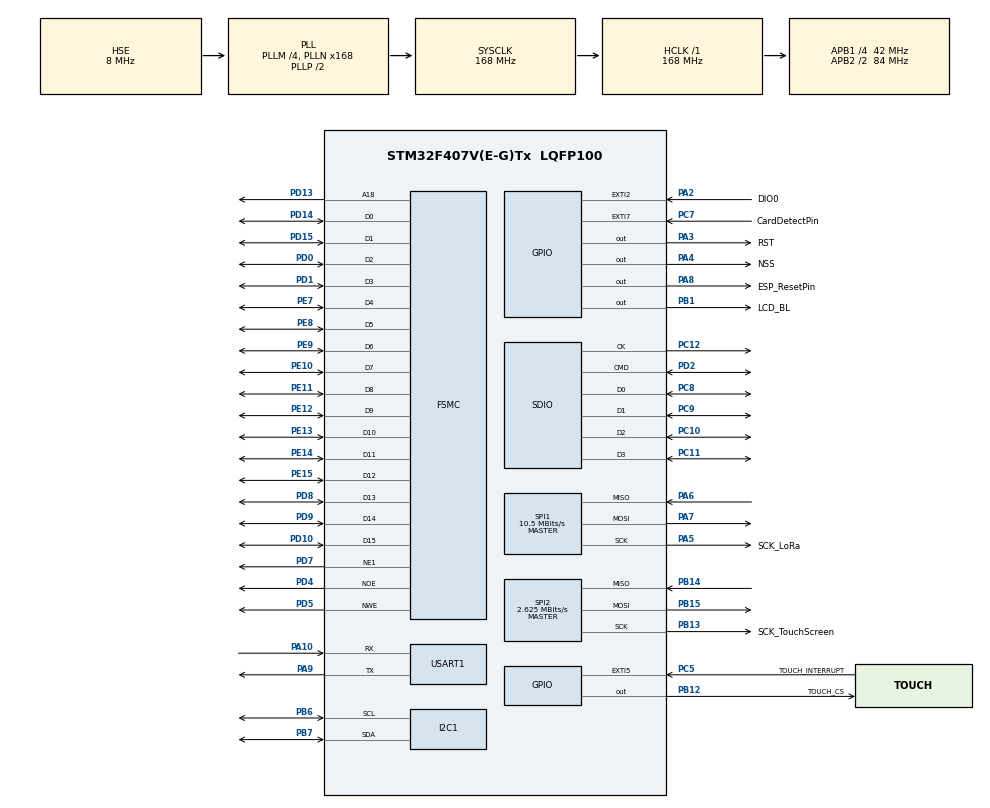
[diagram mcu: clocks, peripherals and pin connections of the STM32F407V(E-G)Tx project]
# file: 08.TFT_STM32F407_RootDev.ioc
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FATFS._FS_EXFAT=1
FATFS._MAX_SS=4096
FATFS._USE_CHMOD=1
FATFS._USE_EXPAND=1
FATFS._USE_FORWARD=1
FATFS._USE_LABEL=1
FATFS._USE_LFN=1
FSMC.AddressSetupTime1=1
FSMC.BusTurnAroundDuration1=0
FSMC.DataSetupTime1=5
Mcu.Family=STM32F4
Mcu.Name=STM32F407V(E-G)Tx
Mcu.Package=LQFP100
NVIC.EXTI2_IRQn=true\:0\:0\:false\:false\:true\:true\:true\:true
NVIC.EXTI9_5_IRQn=true\:0\:0\:true\:false\:true\:true\:true\:true
NVIC.PriorityGroup=NVIC_PRIORITYGROUP_4
NVIC.SDIO_IRQn=true\:0\:0\:false\:false\:true\:true\:true\:true
NVIC.TIM3_IRQn=true\:0\:0\:false\:false\:true\:true\:true\:true
NVIC.USART1_IRQn=true\:0\:0\:true\:false\:true\:true\:true\:true
PA10.Mode=Asynchronous
PA10.Signal=USART1_RX
PA13.Mode=JTAG_4_pins
PA13.Signal=SYS_JTMS-SWDIO
PA14.Mode=JTAG_4_pins
PA14.Signal=SYS_JTCK-SWCLK
PA15.Mode=JTAG_4_pins
PA15.Signal=SYS_JTDI
PA2.GPIO_Label=DIO0
PA2.Signal=GPXTI2
PA3.GPIO_Label=RST
PA3.PinState=GPIO_PIN_SET
PA3.Signal=GPIO_Output
PA4.GPIO_Label=NSS
PA4.PinState=GPIO_PIN_SET
PA4.Signal=GPIO_Output
PA5.GPIO_Label=SCK_LoRa
PA5.Mode=Full_Duplex_Master
PA5.Signal=SPI1_SCK
PA6.Mode=Full_Duplex_Master
PA6.Signal=SPI1_MISO
PA7.Mode=Full_Duplex_Master
PA7.Signal=SPI1_MOSI
PA8.GPIO_Label=ESP_ResetPin
PA8.GPIO_PuPd=GPIO_PULLUP
PA8.Signal=GPIO_Output
PA9.Mode=Asynchronous
PA9.Signal=USART1_TX
PB1.GPIO_Label=LCD_BL
PB1.PinState=GPIO_PIN_SET
PB1.Signal=GPIO_Output
PB12.GPIO_Label=TOUCH_CS
PB12.PinState=GPIO_PIN_SET
PB12.Signal=GPIO_Output
PB13.GPIO_Label=SCK_TouchScreen
PB13.Mode=Full_Duplex_Master
PB13.Signal=SPI2_SCK
PB14.Mode=Full_Duplex_Master
PB14.Signal=SPI2_MISO
PB15.Mode=Full_Duplex_Master
PB15.Signal=SPI2_MOSI
PB3.Mode=JTAG_4_pins
PB3.Signal=SYS_JTDO-SWO
PB6.Mode=I2C
PB6.Signal=I2C1_SCL
PB7.Mode=I2C
PB7.Signal=I2C1_SDA
PC10.Mode=SD_4_bits_Wide_bus
PC10.Signal=SDIO_D2
PC11.Mode=SD_4_bits_Wide_bus
PC11.Signal=SDIO_D3
PC12.Mode=SD_4_bits_Wide_bus
PC12.Signal=SDIO_CK
PC5.GPIO_Label=TOUCH_INTERRUPT
PC5.GPIO_ModeDefaultEXTI=GPIO_MODE_IT_FALLING
PC5.Signal=GPXTI5
PC7.GPIO_Label=CardDetectPin
PC7.Signal=GPXTI7
PC8.Mode=SD_4_bits_Wide_bus
PC8.Signal=SDIO_D0
PC9.Mode=SD_4_bits_Wide_bus
PC9.Signal=SDIO_D1
PD0.Mode=16b-d1
PD0.Signal=FSMC_D2
PD1.Mode=16b-d1
PD1.Signal=FSMC_D3
PD10.Mode=16b-d1
PD10.Signal=FSMC_D15
PD13.Mode=A18_1
PD13.Signal=FSMC_A18
PD14.Mode=16b-d1
PD14.Signal=FSMC_D0
PD15.Mode=16b-d1
PD15.Signal=FSMC_D1
PD2.Mode=SD_4_bits_Wide_bus
PD2.Signal=SDIO_CMD
PD4.Mode=Lcd1
PD4.Signal=FSMC_NOE
PD5.Mode=Lcd1
PD5.Signal=FSMC_NWE
PD7.Mode=NorPsramChipSelect1_1
PD7.Signal=FSMC_NE1
PD8.Mode=16b-d1
PD8.Signal=FSMC_D13
PD9.Mode=16b-d1
PD9.Signal=FSMC_D14
PE10.Mode=16b-d1
PE10.Signal=FSMC_D7
PE11.Mode=16b-d1
PE11.Signal=FSMC_D8
PE12.Mode=16b-d1
PE12.Signal=FSMC_D9
PE13.Mode=16b-d1
PE13.Signal=FSMC_D10
PE14.Mode=16b-d1
PE14.Signal=FSMC_D11
PE15.Mode=16b-d1
PE15.Signal=FSMC_D12
PE7.Mode=16b-d1
PE7.Signal=FSMC_D4
PE8.Mode=16b-d1
PE8.Signal=FSMC_D5
PE9.Mode=16b-d1
PE9.Signal=FSMC_D6
PH0-OSC_IN.Mode=HSE-External-Oscillator
PH0-OSC_IN.Signal=RCC_OSC_IN
PH1-OSC_OUT.Mode=HSE-External-Oscillator
PH1-OSC_OUT.Signal=RCC_OSC_OUT
ProjectManager.HeapSize=0x200
ProjectManager.StackSize=0x400
ProjectManager.TargetToolchain=STM32CubeIDE
RCC.48MHZClocksFreq_Value=24000000
RCC.AHBFreq_Value=168000000
RCC.APB1CLKDivider=RCC_HCLK_DIV4
RCC.APB1Freq_Value=42000000
RCC.APB1TimFreq_Value=84000000
RCC.APB2CLKDivider=RCC_HCLK_DIV2
RCC.APB2Freq_Value=84000000
RCC.APB2TimFreq_Value=168000000
RCC.CortexFreq_Value=168000000
RCC.HCLKFreq_Value=168000000
RCC.HSE_VALUE=8000000
RCC.HSI_VALUE=16000000
RCC.LSE_VALUE=32768
RCC.PLLM=4
RCC.PLLN=168
RCC.PLLQ=14
RCC.PLLSourceVirtual=RCC_PLLSOURCE_HSE
RCC.SYSCLKFreq_VALUE=168000000
RCC.SYSCLKSource=RCC_SYSCLKSOURCE_PLLCLK
RCC.VCOOutputFreq_Value=336000000
SDIO.ClockDiv=2
SPI1.BaudRatePrescaler=SPI_BAUDRATEPRESCALER_8
SPI1.CalculateBaudRate=10.5 MBits/s
SPI1.Direction=SPI_DIRECTION_2LINES
SPI1.Mode=SPI_MODE_MASTER
SPI1.VirtualType=VM_MASTER
SPI2.BaudRatePrescaler=SPI_BAUDRATEPRESCALER_16
SPI2.CalculateBaudRate=2.625 MBits/s
SPI2.Direction=SPI_DIRECTION_2LINES
SPI2.Mode=SPI_MODE_MASTER
SPI2.VirtualType=VM_MASTER
TIM3.AutoReloadPreload=TIM_AUTORELOAD_PRELOAD_ENABLE
TIM3.Period=9999
TIM3.Prescaler=8399
USART1.VirtualMode=VM_ASYNC
VP_FATFS_VS_SDIO.Mode=SDIO
VP_TIM3_VS_ClockSourceINT.Mode=Internal
board=custom

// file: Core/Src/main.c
/* USER CODE BEGIN Header */
/**
  ******************************************************************************
  * @file           : main.c
  * @brief          : Main program body
  ******************************************************************************
  * @attention
  *
  * Copyright (c) 2025 STMicroelectronics.
  * All rights reserved.
  *
  * This software is licensed under terms that can be found in the LICENSE file
  * in the root directory of this software component.
  * If no LICENSE file comes with this software, it is provided AS-IS.
  *
  ******************************************************************************
  */
/* USER CODE END Header */
#include "main.h"
#include "fatfs.h"
#include "i2c.h"
#include "sdio.h"
#include "spi.h"
#include "tim.h"
#include "usart.h"
#include "gpio.h"
#include "fsmc.h"

/* USER CODE BEGIN Includes */
// pliki naglowkowe musza tu byc z racji na to ze ich deklaracja jest zalezna od includow z main
#include "File_Handling.h"
#include "INI_FileHandling.h"
#include "actions.h"

/* USER CODE END Includes */

/* USER CODE BEGIN PV */
volatile uint8_t ReInitializingCardRequired = 0;

volatile int DisableTimeScreenAfterMS = 20000;
volatile int DisableTimeScreen = 0;

// ESP wifi Start
volatile int SendTimeUARTCount = 0;
volatile int SendTimeUARTAfterSec = 5;
// ESP

// LoRa Start
LoRa myLoRa;
int LoRa_stat=0;
char TxBuffer[128];
volatile int LoRaIsReceived=0;
char RxBuffer[128];
// LoRa End

// BMP280 Start
BMP280_HandleTypedef bmp280;
uint16_t size;
uint8_t Data[256];

// BMP280 END

/* USER CODE END PV */

void SystemClock_Config(void);

int main(void)
{

  /* USER CODE BEGIN 1 */
	int PointerSensivitySizeDefault = 200;

	int LV_CheckTimeAfterMS = 5;
	int BMP280_CheckTimeAfterMS = 5000;
	int DeviceStatusesRefresh_CheckTimeAfterMS = 1000;

	int DefaultDTSynchAfterMS= 3600000 * 8; // powinna byc 1h
	int SendDataTime_CheckTimeAfterMS = 30000;
	int SendDataTimeSynchronizeAfterMS = DefaultDTSynchAfterMS;

	int TimeNOW = 0;
	int LV_FromTime = 0;
	int BMP280_FromTime = 0;
	int DeviceStatusesRefresh_FromTime = 0;
	int DataTime_FromTime = 0;
  /* USER CODE END 1 */

  /* MCU Configuration--------------------------------------------------------*/

  /* Reset of all peripherals, Initializes the Flash interface and the Systick. */
  HAL_Init();

  /* Configure the system clock */
  SystemClock_Config();

  /* Initialize all configured peripherals */
  MX_GPIO_Init();
  MX_USART1_UART_Init();
  MX_FSMC_Init();
  MX_SDIO_SD_Init();
  MX_SPI2_Init();
  MX_FATFS_Init();
  MX_TIM3_Init();
  MX_SPI1_Init();
  MX_I2C1_Init();
  /* USER CODE BEGIN 2 */

  DelayInit();

  initTouchScr(); //lcdInit();

  lv_init();
  lv_port_disp_init();
  lv_port_indev_init();

  LCD_BL_ON();

  if(HAL_GPIO_ReadPin(GPIOC, CardDetectPin_Pin) == GPIO_PIN_RESET)
  {
	CardDetectedInSlot = true;
	InitializeSDCard();
  }

  IniFile config;

  lcdFillRGB(COLOR_BLACK);

  lcdSetOrientation(LCD_ORIENTATION_LANDSCAPE);

  //TODOLIST
  // kalibracja temp hum itd (najpierw odczytywana z karty SD
  // wyswietlana na jakies zakladce lub osobnej stronie.
  // wifi jak czesto odświezać ma serwer NTP
  // timer wylaczania ekranu ustawienia z karty SD
  // dodatkowo wycięcie logowania przy WIFI

	if(CardDetectedInSlot)
	{
	 if(Mount_SD("/") == FR_OK)
	  {
		if (Load_INI_File("config.ini", &config) == FR_OK)
		{
			Debug("Plik INI wczytany pomyslnie.");
			HAL_Delay(1000);

			if (Get_INI_Value_As_Int(&config, "DeviceConfig", "ScreenTime", (void*)&DisableTimeScreenAfterMS))
			{
	//			snprintf(debugData, sizeof(debugData),"ScreenTime: %d ms", DisableTimeScreenAfterMS);
	//			Debug(debugData);
			}
			else
			{
				Debug("Nieprawidlowa wartosc ScreenTime.");
				HAL_Delay(2000);
			}

			if (Get_INI_Value_As_Int(&config, "DeviceConfig", "PointerSensivitySizeDefault", &PointerSensivitySizeDefault))
			{
	//			snprintf(debugData, sizeof(debugData),"PointerSensivitySizeDefault: %d ms", PointerSensivitySizeDefault);
	//			Debug(debugData);
			}
			else
			{
				Debug("Nieprawidlowa wartosc PointerSensivitySizeDefault.");
				HAL_Delay(1000);
			}

			memset(WIFI_SSID, 0, sizeof(WIFI_SSID));
			// Pobierz dane Wi-Fi
			if (Get_INI_Value(&config, "WiFi", "SSID", WIFI_SSID, sizeof(WIFI_SSID)))
			{
				Debug("                                         ");
				snprintf(debugData, sizeof(debugData),"SSID: %s", WIFI_SSID);
				Debug(debugData);
				HAL_Delay(1000);
			}

			memset(WIFI_PASSWORD, 0, sizeof(WIFI_PASSWORD));
			if (Get_INI_Value(&config, "WiFi", "Password", WIFI_PASSWORD, sizeof(WIFI_PASSWORD)))
			{
//				Debug("                                         ");
//				snprintf(debugData, sizeof(debugData),"Password: %s", WIFI_PASSWORD);
//				Debug(debugData);
//				HAL_Delay(2000);
			}

		} else
		{
			Debug("Nie udalo sie wczytac pliku INI.");
			HAL_Delay(3000);
		}
	  }
	  Unmount_SD("/");
	}

	ui_init();
	// --------------------------------------------------------------------ESP 8266
	InitESP8266();
	ConnectToWiFi(WIFI_SSID, WIFI_PASSWORD);

	// --------------------------------------------------------------------LORA
	LoRa_stat = InitializeMyLoRa(&myLoRa);
	MakeHandleToLoRa(&myLoRa);
	SetDevID(4705);
	SendMessageRequest(0, Broadcast);

	// --------------------------------------------------------------------BMP280
	bmp280_init_default_params(&bmp280.params);
	bmp280.addr = BMP280_I2C_ADDRESS_0; // GND
	bmp280.i2c = &hi2c1;
	while (!bmp280_init(&bmp280, &bmp280.params))
	{
	//		size = sprintf((char *)Data, "BMP280 initialization failed\n");
		Debug("BMP280 initialization failed...");
		HAL_Delay(2000);
	}
//    bool bme280p = bmp280.id == BME280_CHIP_ID;
//	size = sprintf((char *)Data, "BMP280: found %s\n", bme280p ? "BME280" : "BMP280");
	bmp280_read_float(&bmp280,&BMP280_temperature, &BMP280_pressure, &BMP280_humidity);
	SetLocalTempHumPressureLVGL();

  /* USER CODE END 2 */

  /* Infinite loop */
  /* USER CODE BEGIN WHILE */

	ConnectToWiFi(WIFI_SSID, WIFI_PASSWORD);
	LoRaReceiveMode();
	DisableTimeScreen = HAL_GetTick();
	TSInterrupt = 1;

	// init time
	DateNow.isWinterTime = false;

	while (1)
	{

		TimeNOW = HAL_GetTick();

		if(((uint32_t)TimeNOW - DisableTimeScreen) >= DisableTimeScreenAfterMS)
		{
			DisableTimeScreen = TimeNOW;
			LCD_BL_OFF();
			TSInterrupt = 0;
		}

		if ((uint32_t)(TimeNOW - BMP280_FromTime) >= BMP280_CheckTimeAfterMS)
		{
			BMP280_FromTime = TimeNOW; // Ustaw następny czas startu na bieżący

			bmp280_read_float(&bmp280,&BMP280_temperature, &BMP280_pressure, &BMP280_humidity); // or altitude
			SetLocalTempHumPressureLVGL();
		}

		if ((uint32_t)(TimeNOW - DeviceStatusesRefresh_FromTime) >= DeviceStatusesRefresh_CheckTimeAfterMS)
		{
			DeviceStatusesRefresh_FromTime = TimeNOW; // Ustaw następny czas startu na bieżący
			SetLoRaStatusFlagsLVGL();
			SetWifiStatusFlagsLVGL();
		}

		TimeNOW = HAL_GetTick();

		/* USER CODE END WHILE */

		/* USER CODE BEGIN 3 */
		if ((uint32_t)(TimeNOW - LV_FromTime) >= LV_CheckTimeAfterMS)
		{
			LV_FromTime = TimeNOW; // Ustaw następny czas startu na bieżący
			lv_timer_handler();
			ui_tick();
		}

		if(LoRaIsReceived == 1)// received somethig
		{
			if(UnpackMessage(RxBuffer) != 1)
			{
			}
			LoRaIsReceived = 0;
			memset(RxBuffer, 0, sizeof RxBuffer);
		}

		if(ReInitializingCardRequired == 1 && CardDetectedInSlot == true)
		{
			ReInitializingCardRequired = 0;
			InitializeSDCard();
		}

		if ((uint32_t)(TimeNOW - DataTime_FromTime) >= SendDataTime_CheckTimeAfterMS)
		{
			DataTime_FromTime = TimeNOW; // Ustaw następny czas startu na bieżący
			if(GetTimeFromNTP())
			{
				if(procesNTPTime == true)
				{
					SendDataTime_CheckTimeAfterMS = SendDataTimeSynchronizeAfterMS;

					if(TimerInit == false)
					{
						if (HAL_TIM_Base_Start_IT(TIMERSEC) == HAL_OK)
						{
						  TimerInit = true;
						}
						else
						{
						  TimerInit = false;
						}
					}
				}
			}
			else
				SendDataTime_CheckTimeAfterMS = 60000;
		}
	}
	/* USER CODE END 3 */
}

void SystemClock_Config(void)
{
  RCC_OscInitTypeDef RCC_OscInitStruct = {0};
  RCC_ClkInitTypeDef RCC_ClkInitStruct = {0};

  /** Configure the main internal regulator output voltage
  */
  __HAL_RCC_PWR_CLK_ENABLE();
  __HAL_PWR_VOLTAGESCALING_CONFIG(PWR_REGULATOR_VOLTAGE_SCALE1);

  /** Initializes the RCC Oscillators according to the specified parameters
  * in the RCC_OscInitTypeDef structure.
  */
  RCC_OscInitStruct.OscillatorType = RCC_OSCILLATORTYPE_HSE;
  RCC_OscInitStruct.HSEState = RCC_HSE_ON;
  RCC_OscInitStruct.PLL.PLLState = RCC_PLL_ON;
  RCC_OscInitStruct.PLL.PLLSource = RCC_PLLSOURCE_HSE;
  RCC_OscInitStruct.PLL.PLLM = 4;
  RCC_OscInitStruct.PLL.PLLN = 168;
  RCC_OscInitStruct.PLL.PLLP = RCC_PLLP_DIV2;
  RCC_OscInitStruct.PLL.PLLQ = 14;
  if (HAL_RCC_OscConfig(&RCC_OscInitStruct) != HAL_OK)
  {
    Error_Handler();
  }

  /** Initializes the CPU, AHB and APB buses clocks
  */
  RCC_ClkInitStruct.ClockType = RCC_CLOCKTYPE_HCLK|RCC_CLOCKTYPE_SYSCLK
                              |RCC_CLOCKTYPE_PCLK1|RCC_CLOCKTYPE_PCLK2;
  RCC_ClkInitStruct.SYSCLKSource = RCC_SYSCLKSOURCE_PLLCLK;
  RCC_ClkInitStruct.AHBCLKDivider = RCC_SYSCLK_DIV1;
  RCC_ClkInitStruct.APB1CLKDivider = RCC_HCLK_DIV4;
  RCC_ClkInitStruct.APB2CLKDivider = RCC_HCLK_DIV2;

  if (HAL_RCC_ClockConfig(&RCC_ClkInitStruct, FLASH_LATENCY_5) != HAL_OK)
  {
    Error_Handler();
  }
}

/* USER CODE BEGIN 4 */
void HAL_GPIO_EXTI_Callback(uint16_t GPIO_Pin)
{
	switch(GPIO_Pin)
	{
		case DIO0_Pin:

		LoRa_receive(&myLoRa, (uint8_t *) RxBuffer, 128);
		LoRaIsReceived=1;
		break;

		case TOUCH_INTERRUPT_Pin: //EXTI9_10_IRQHandler(void) {
//			if (TSInterrupt == 0)
//			{
				//HAL_NVIC_DisableIRQ(EXTI9_5_IRQn); // Zablokuj przerwanie EXTI na czas obsługi
				LCD_BL_ON();
				DisableTimeScreen = HAL_GetTick();
				TSInterrupt = 1;
//			}
				//__HAL_GPIO_EXTI_CLEAR_IT(TOUCH_INTERRUPT_Pin);
			break;

		case CardDetectPin_Pin: //EXTI15_10_IRQHandler(void)

			if (HAL_GPIO_ReadPin(GPIOC, CardDetectPin_Pin) == GPIO_PIN_RESET)
			{

				CardDetectedInSlot = true;
				LCD_BL_ON();

				char *buf;
				size_t bufSize;
				// Karta SD została włożona
				char tekst[] ="Karta SD wlozona";
				// Oblicz wymagany rozmiar bufora
	        	bufSize = snprintf(NULL, 0, "%s", tekst) + 1;
	        	buf = malloc(bufSize);
        	    snprintf(buf, bufSize, "%s", tekst);

				ReInitializingCardRequired = 1;

				int cx = lcdGetWidth()  / 2;
				int cy = lcdGetHeight() / 2;
				int tekstLength =strlen(buf);
				lcdSetCursor(cx- ((lcdGetTextFont()->Width*tekstLength )/2 -1), cy);
				lcdSetTextColor(COLOR_WHITE, COLOR_BLACK);
				lcdPrintf(buf);
	    	    free(buf);

				DisableTimeScreen = HAL_GetTick();
			}

			else if (HAL_GPIO_ReadPin(GPIOC, CardDetectPin_Pin) == GPIO_PIN_SET)
			{
				CardDetectedInSlot = false;
				LCD_BL_ON();

				char *buf;
				size_t bufSize;
				// Karta SD została włożona
				char tekst[] ="Karta SD wyjeta";
				// Oblicz wymagany rozmiar bufora
	        	bufSize = snprintf(NULL, 0, "%s", tekst) + 1;
	        	buf = malloc(bufSize);
        	    snprintf(buf, bufSize, "%s", tekst);

				ReInitializingCardRequired = 0;

				int cx = lcdGetWidth()  / 2;
				int cy = lcdGetHeight() / 2;
				int tekstLength =strlen(buf);
				lcdSetCursor(cx- ((lcdGetTextFont()->Width*tekstLength )/2 -1), cy);
				lcdSetTextColor(COLOR_WHITE, COLOR_BLACK);
				lcdPrintf(buf);
	    	    free(buf);

				DisableTimeScreen = HAL_GetTick();
			}

			//__HAL_GPIO_EXTI_CLEAR_FLAG(CardDetectPin_Pin);
    	    break;

	}

}

// Callback obsługi przerwania UART
void HAL_UART_RxCpltCallback(UART_HandleTypeDef *huart)
{
    if (huart->Instance == USART1)
    {
        // Zapisz odebrany bajt do bufora cyklicznego
    	if(rxWriteIndex == 0 && (rxData == '\n' || rxData == '\r')) // hmm filtrowanie smieci ?
    	{
    		rxData = 0;
    	}
    	else
    	{
    		BufferTable[ActualBuffer].rxBuffer[rxWriteIndex]=rxData;

    		rxWriteIndex++;
    	}

    	if(WaitForNTPResp == true && rxData == '+') // zacznij zczytywać wiadomość NTP
    	{
    		StartCollectingNTPRespons = true;
    	}

		if (rxWriteIndex >= NTPResponsLength && StartCollectingNTPRespons == true) // dlugosc wiadomosci 56
        {
//			char dbData[300];
//			sprintf(dbData, "Bufor %d do przetworzenia: %s ;index %d \r\n",ActualBuffer, BufferTable[ActualBuffer].rxBuffer, rxWriteIndex);
//			Debug(dbData);

			WaitForNTPResp = false;
			StartCollectingNTPRespons = false;

            if (rxWriteIndex < RX_BUFFER_SIZE)
            {
            	BufferTable[ActualBuffer].rxBuffer[rxWriteIndex] = '\0';
            	BufferTable[ActualBuffer].rxWriteLength = rxWriteIndex;
            }
            else
            	BufferTable[ActualBuffer].rxWriteLength = rxWriteIndex -1;

            BufferTable[ActualBuffer].rxWasReaded = false;

            for(int i = 0; i < BufferTableSize; i++)
            {
            	if(BufferTable[i].rxWasReaded == true)
            	{
            		ActualBuffer = i;
            		BufferTable[i].rxWasReaded = false;
            		break;
            	}
            }

            rxWriteIndex = 0;
        }
		else if ((rxWriteIndex >= RX_BUFFER_SIZE - 1 || rxData == '\n') && StartCollectingNTPRespons == false)// && commandReady == 0)
        {
            if (rxWriteIndex < RX_BUFFER_SIZE)
            {
            	BufferTable[ActualBuffer].rxBuffer[rxWriteIndex] = '\0';
            	BufferTable[ActualBuffer].rxWriteLength = rxWriteIndex;
            }
            else
            	BufferTable[ActualBuffer].rxWriteLength = rxWriteIndex -1;

            BufferTable[ActualBuffer].rxWasReaded = false;

//            char dbData[500];
//            snprintf(dbData, sizeof(dbData), "Bufor %d do przetworzenia: %s\r\n",ActualBuffer, BufferTable[ActualBuffer].rxBuffer);
//			Debug(dbData);

            for(int i = 0; i < BufferTableSize; i++)
            {
            	if(BufferTable[i].rxWasReaded == true)
            	{
            		ActualBuffer = i;
            		BufferTable[i].rxWasReaded = false;
            		break;
            	}
            }
            rxWriteIndex = 0;
        }

//		Wznów odbiór danych w trybie przerwań // przeniesione do ProcessReceivedData();
		HAL_UART_Receive_IT(ESP_USART, (uint8_t *)&rxData, 1);

		//HAL_UART_AbortReceive_IT(ESP_USART);
    }
}

void HAL_UART_TxCpltCallback(UART_HandleTypeDef *huart)
{
    if (huart->Instance == USART1) // Sprawdź, czy to Twój UART
    {
        isTransmissionComplete = true;
    }
}

void HAL_TIM_PeriodElapsedCallback(TIM_HandleTypeDef *htim)
{
	if(htim->Instance == TIM3)
	{
		SendTimeUARTCount++;
		IncrementLocalTime((void*)&DateNow);
//		char debugData[60];
//		sprintf(debugData,"%04d/%02d/%02d %02d:%02d:%02d", DateNow.year, DateNow.month, DateNow.day, DateNow.hour, DateNow.minute, DateNow.second);
//		PrintDateTime(debugData);
		SetDateTimeLVGL();
		if(SendTimeUARTCount >= SendTimeUARTAfterSec)
		{
			SendTimeUARTCount= 0;
//		    char debugData[200];
//		    sprintf(debugData,"LOCAL Date and Time: %04d-%02d-%02d %02d:%02d:%02d\r\n", DateNow.year, DateNow.month, DateNow.day, DateNow.hour, DateNow.minute, DateNow.second);
//			Debug(debugData);
		}

	}
}

/* USER CODE END 4 */

void Error_Handler(void)
{
  __disable_irq();
  while (1)
  {
  }
}
